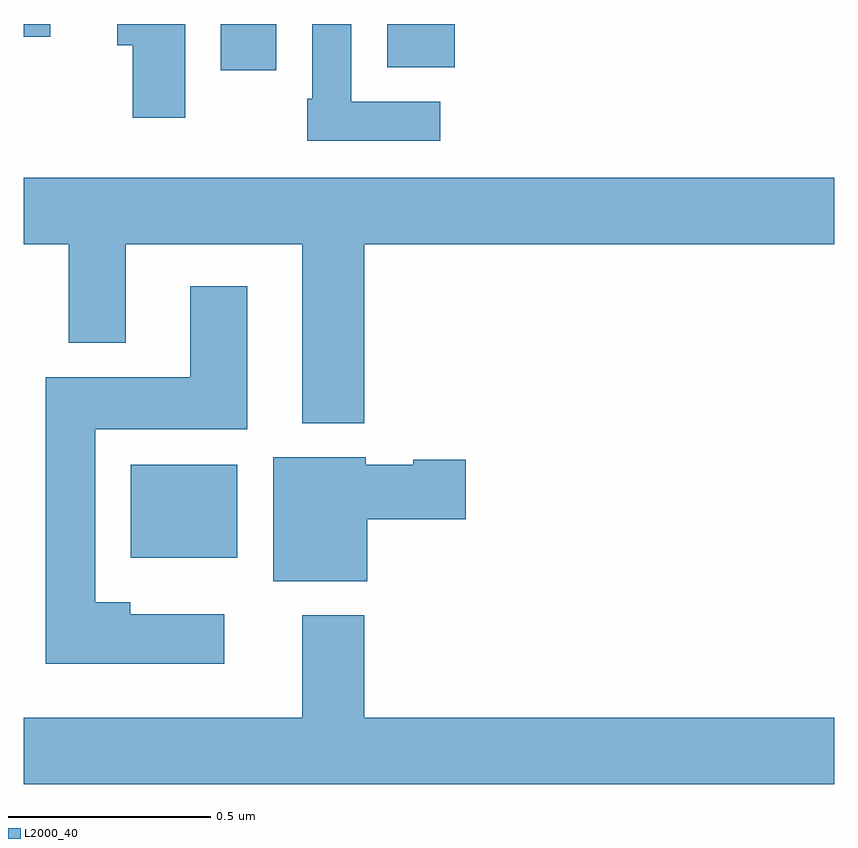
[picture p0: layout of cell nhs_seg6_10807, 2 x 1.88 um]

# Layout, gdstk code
import gdstk
lib = gdstk.Library(unit=1e-6, precision=1e-09)
def R(c, l, rs):  # rectangles x0, y0, x1, y1
    for r in rs: c.add(gdstk.rectangle(r[:2], r[2:], *l))
def P(c, l, *ps):  # polygons
    for p in ps: c.add(gdstk.Polygon(p, *l))
L2000_40 = (2000, 40)

nhs_seg6_10807 = lib.new_cell('nhs_seg6_10807')
R(nhs_seg6_10807, L2000_40, [(251.264,993.182,251.527,993.412), (251.486,994.386,251.623,994.5), (251.897,994.393,252.064,994.5), (251,994.469,251.065,994.5)])
P(nhs_seg6_10807, L2000_40, [(251.398,994.5),(251.231,994.5),(251.231,994.448),(251.269,994.448),(251.269,994.269),(251.398,994.269)],
  [(252.028,994.308),(251.808,994.308),(251.808,994.5),(251.712,994.5),(251.712,994.315),(251.7,994.315),(251.7,994.212),(252.028,994.212)],
  [(251.84,993.956),(253,993.956),(253,994.12),(251,994.12),(251,993.956),(251.111,993.956),(251.111,993.713),(251.251,993.713),(251.251,993.956),(251.687,993.956),(251.687,993.515),(251.84,993.515)],
  [(251.494,993.043),(251.263,993.043),(251.263,993.073),(251.176,993.073),(251.176,993.5),(251.551,993.5),(251.551,993.853),(251.411,993.853),(251.411,993.628),(251.054,993.628),(251.054,992.921),(251.494,992.921)],
  [(251.848,993.278),(252.091,993.278),(252.091,993.425),(251.961,993.425),(251.961,993.412),(251.844,993.412),(251.844,993.43),(251.615,993.43),(251.615,993.125),(251.848,993.125)],
  [(253,992.788),(251.84,992.788),(251.84,993.04),(251.687,993.04),(251.687,992.788),(251,992.788),(251,992.624),(253,992.624)])

lib.write_gds('nhs_seg6_10807.gds')
